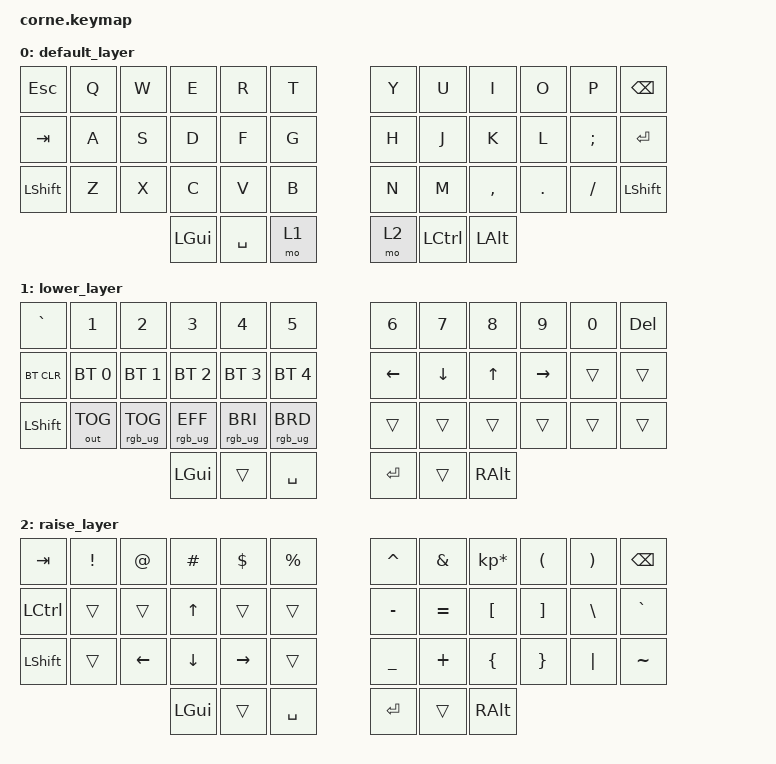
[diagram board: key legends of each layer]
/*
 * Copyright (c) 2020 The ZMK Contributors
 *
 * SPDX-License-Identifier: MIT
 */

#include <behaviors.dtsi>
#include <dt-bindings/zmk/keys.h>
#include <dt-bindings/zmk/bt.h>
#include <dt-bindings/zmk/outputs.h>
#include <dt-bindings/zmk/rgb.h>

/ {
        keymap {
                compatible = "zmk,keymap";

                default_layer {
// -----------------------------------------------------------------------------------------
// | ESC |  Q  |  W  |  E  |  R  |  T  |   |  Y  |  U   |  I  |  O  |  P  | BKSP |
// | TAB |  A  |  S  |  D  |  F  |  G  |   |  H  |  J   |  K  |  L  |  ;  | ENT  |
// | SHFT|  Z  |  X  |  C  |  V  |  B  |   |  N  |  M   |  ,  |  .  |  /  | SHFT  |
//                    | GUI | SPC | LOWER |   | RAISE | LCTRL  | LALT |
                        bindings = <
   &kp ESC   &kp Q &kp W &kp E &kp R &kp T   &kp Y &kp U  &kp I     &kp O   &kp P    &kp BSPC
   &kp TAB &kp A &kp S &kp D &kp F &kp G   &kp H &kp J  &kp K     &kp L   &kp SEMI &kp RET
   &kp LSHFT &kp Z &kp X &kp C &kp V &kp B   &kp N &kp M  &kp COMMA &kp DOT &kp FSLH &kp LSHFT
                  &kp LGUI &kp SPACE &mo 1   &mo 2 &kp LCTRL &kp LALT
                              >;
                };
                lower_layer {
// -----------------------------------------------------------------------------------------
// | GRAVE|  1  |  2  |  3  |  4  |  5  |   |  6  |  7  |  8  |  9  |  0  | DEL |
// | BTCLR| BT1 | BT2 | BT3 | BT4 | BT5 |   | LFT | DWN |  UP | RGT |     |      |
// | SHFT | OUT |     |     |     |     |   |     |     |     |     |     |      |
//                    | GUI |     | SPC |   | ENT |     | ALT |
                        bindings = <
   &kp GRAVE    &kp N1       &kp N2       &kp N3       &kp N4       &kp N5         &kp N6   &kp N7   &kp N8 &kp N9    &kp N0 &kp DEL
   &bt BT_CLR &bt BT_SEL 0 &bt BT_SEL 1 &bt BT_SEL 2 &bt BT_SEL 3 &bt BT_SEL 4   &kp LEFT &kp DOWN &kp UP &kp RIGHT &trans &trans
   &kp LSHFT  &out OUT_TOG  &rgb_ug RGB_TOG &rgb_ug RGB_EFF &rgb_ug RGB_BRI &rgb_ug RGB_BRD         &trans   &trans   &trans &trans    &trans &trans
                          	        &kp LGUI     &trans       &kp SPACE      &kp RET  &trans   &kp RALT
                        >;
                };

                raise_layer {
// -----------------------------------------------------------------------------------------
// |  TAB |  !  |  @  |  #  |  $  |  %  |   |  ^  |  &  |  *  |  (  |  )  | BKSP |
// | CTRL |     |     | UP  |     |     |   |  -  |  =  |  [  |  ]  |  \  |  `   |
// | SHFT |     | LEFT| DOWN|RIGHT|     |   |  _  |  +  |  {  |  }  | "|" |  ~   |
//                    | GUI |     | SPC |   | ENT |     | ALT |
                        bindings = <
   &kp  TAB  &kp EXCL &kp AT &kp HASH &kp DLLR &kp PRCNT   &kp CARET &kp AMPS  &kp KP_MULTIPLY &kp LPAR &kp RPAR &kp BSPC
   &kp LCTRL &trans   &trans &kp UP   &trans   &trans      &kp MINUS &kp EQUAL &kp LBKT        &kp RBKT &kp BSLH &kp GRAVE
   &kp LSHFT &trans   &kp LEFT &kp DOWN   &kp RIGHT   &trans      &kp UNDER &kp PLUS  &kp LBRC        &kp RBRC &kp PIPE &kp TILDE
                    	     &kp LGUI &trans   &kp SPACE   &kp RET   &trans    &kp RALT
                        >;
                };
        };
};
